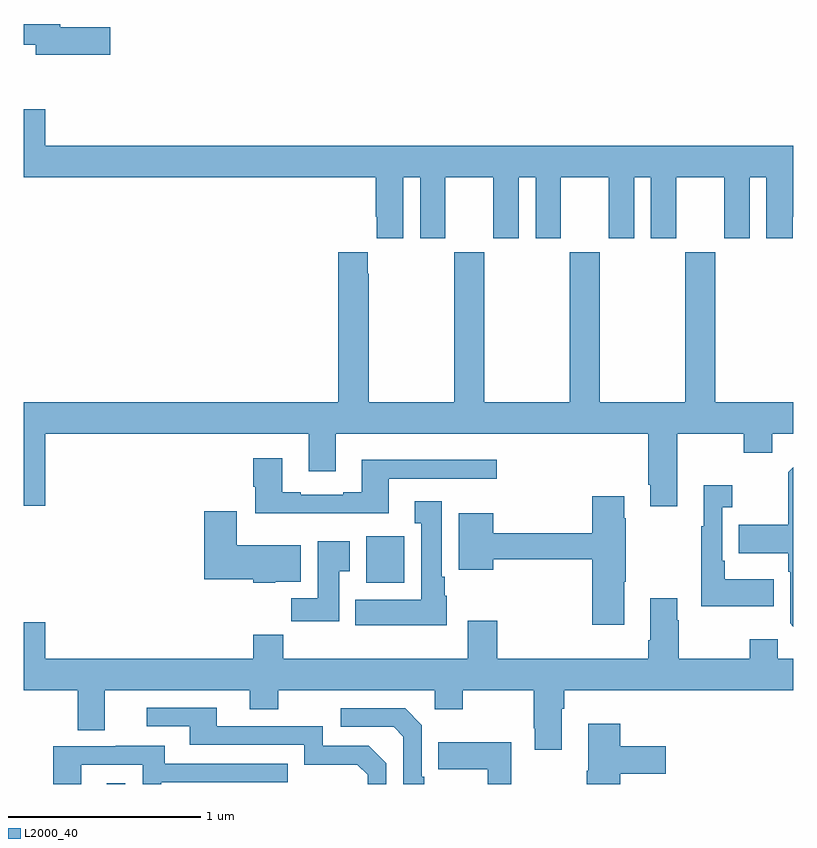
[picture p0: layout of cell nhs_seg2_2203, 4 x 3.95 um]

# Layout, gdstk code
import gdstk
lib = gdstk.Library(unit=1e-6, precision=1e-09)
def R(c, l, rs):  # rectangles x0, y0, x1, y1
    for r in rs: c.add(gdstk.rectangle(r[:2], r[2:], *l))
def P(c, l, *ps):  # polygons
    for p in ps: c.add(gdstk.Polygon(p, *l))
L2000_40 = (2000, 40)

nhs_seg2_2203 = lib.new_cell('nhs_seg2_2203')
R(nhs_seg2_2203, L2000_40, [(225.431,661.8,225.528,661.804), (226.781,662.846,226.978,663.088)])
P(nhs_seg2_2203, L2000_40, [(225.451,665.732),(225.19,665.732),(225.19,665.749),(225,665.749),(225,665.64),(225.062,665.64),(225.062,665.59),(225.451,665.59)],
  [(226.972,664.952),(227.06,664.952),(227.06,664.635),(227.191,664.635),(227.191,664.952),(227.441,664.952),(227.441,664.635),(227.572,664.635),(227.572,664.952),(227.66,664.952),(227.66,664.635),(227.791,664.635),(227.791,664.952),(228.041,664.952),(228.041,664.635),(228.172,664.635),(228.172,664.952),(228.26,664.952),(228.26,664.635),(228.391,664.635),(228.391,664.952),(228.641,664.952),(228.641,664.635),(228.772,664.635),(228.772,664.952),(228.86,664.952),(228.86,664.635),(228.997,664.635),(228.997,664.747),(229,664.747),(229,665.116),(225.112,665.116),(225.112,665.305),(225,665.305),(225,664.952),(226.829,664.952),(226.829,664.747),(226.835,664.747),(226.835,664.635),(226.972,664.635)],
  [(228.397,663.62),(228.742,663.62),(228.742,663.521),(228.889,663.521),(228.889,663.62),(229,663.62),(229,663.784),(228.594,663.784),(228.594,664.564),(228.439,664.564),(228.439,663.784),(227.994,663.784),(227.994,664.564),(227.839,664.564),(227.839,663.784),(227.394,663.784),(227.394,664.564),(227.239,664.564),(227.239,663.784),(226.794,663.784),(226.794,664.451),(226.789,664.451),(226.789,664.564),(226.634,664.564),(226.634,663.784),(225,663.784),(225,663.246),(225.112,663.246),(225.112,663.62),(226.481,663.62),(226.481,663.426),(226.621,663.426),(226.621,663.62),(228.245,663.62),(228.245,663.355),(228.257,663.355),(228.257,663.243),(228.397,663.243)],
  [(226.897,663.387),(227.458,663.387),(227.458,663.484),(226.757,663.484),(226.757,663.316),(226.661,663.316),(226.661,663.303),(226.441,663.303),(226.441,663.316),(226.345,663.316),(226.345,663.493),(226.193,663.493),(226.193,663.345),(226.205,663.345),(226.205,663.206),(226.897,663.206)],
  [(229,663.447),(228.972,663.419),(228.972,663.147),(228.715,663.147),(228.715,662.999),(228.972,662.999),(228.972,662.903),(228.984,662.903),(228.984,662.634),(229,662.618)],
  [(228.899,662.863),(228.643,662.863),(228.643,662.959),(228.63,662.959),(228.63,663.239),(228.682,663.239),(228.682,663.352),(228.533,663.352),(228.533,663.139),(228.522,663.139),(228.522,662.723),(228.899,662.723)],
  [(228.121,662.851),(228.129,662.851),(228.129,663.182),(228.121,663.182),(228.121,663.295),(227.954,663.295),(227.954,663.104),(227.44,663.104),(227.44,663.208),(227.261,663.208),(227.261,662.912),(227.44,662.912),(227.44,662.968),(227.954,662.968),(227.954,662.628),(228.121,662.628)],
  [(227.2,662.778),(227.188,662.778),(227.188,662.878),(227.173,662.878),(227.173,663.268),(227.033,663.268),(227.033,663.155),(227.066,663.155),(227.066,662.758),(226.724,662.758),(226.724,662.624),(227.2,662.624)],
  [(226.308,662.852),(226.441,662.852),(226.441,663.04),(226.108,663.04),(226.108,663.217),(225.938,663.217),(225.938,662.864),(226.194,662.864),(226.194,662.846),(226.308,662.846)],
  [(226.639,662.905),(226.696,662.905),(226.696,663.061),(226.529,663.061),(226.529,662.764),(226.39,662.764),(226.39,662.646),(226.639,662.646)],
  [(227.797,662.192),(227.81,662.192),(227.81,662.288),(229,662.288),(229,662.452),(228.918,662.452),(228.918,662.551),(228.772,662.551),(228.772,662.452),(228.405,662.452),(228.405,662.651),(228.397,662.651),(228.397,662.764),(228.257,662.764),(228.257,662.548),(228.245,662.548),(228.245,662.452),(227.462,662.452),(227.462,662.647),(227.309,662.647),(227.309,662.452),(226.349,662.452),(226.349,662.576),(226.193,662.576),(226.193,662.452),(225.112,662.452),(225.112,662.641),(225,662.641),(225,662.288),(225.281,662.288),(225.281,662.08),(225.421,662.08),(225.421,662.288),(226.175,662.288),(226.175,662.189),(226.323,662.189),(226.323,662.288),(227.136,662.288),(227.136,662.189),(227.283,662.189),(227.283,662.288),(227.65,662.288),(227.65,662.089),(227.657,662.089),(227.657,661.977),(227.797,661.977)],
  [(226.884,661.908),(226.794,661.998),(226.554,661.998),(226.554,662.1),(226.003,662.1),(226.003,662.196),(225.639,662.196),(225.639,662.1),(225.863,662.1),(225.863,662.004),(226.458,662.004),(226.458,661.901),(226.735,661.901),(226.788,661.848),(226.788,661.8),(226.884,661.8)],
  [(227.083,661.837),(227.07,661.837),(227.07,662.106),(226.983,662.193),(226.647,662.193),(226.647,662.097),(226.923,662.097),(226.974,662.046),(226.974,661.8),(227.083,661.8)],
  [(228.101,661.853),(228.337,661.853),(228.337,661.995),(228.101,661.995),(228.101,662.113),(227.933,662.113),(227.933,661.869),(227.926,661.869),(227.926,661.8),(228.101,661.8)],
  [(227.533,662.017),(227.155,662.017),(227.155,661.877),(227.412,661.877),(227.412,661.8),(227.533,661.8)],
  [(225.3,661.899),(225.618,661.899),(225.618,661.8),(225.714,661.8),(225.714,661.809),(226.373,661.809),(226.373,661.905),(225.733,661.905),(225.733,661.999),(225.479,661.999),(225.479,661.995),(225.155,661.995),(225.155,661.8),(225.3,661.8)])

lib.write_gds('nhs_seg2_2203.gds')
